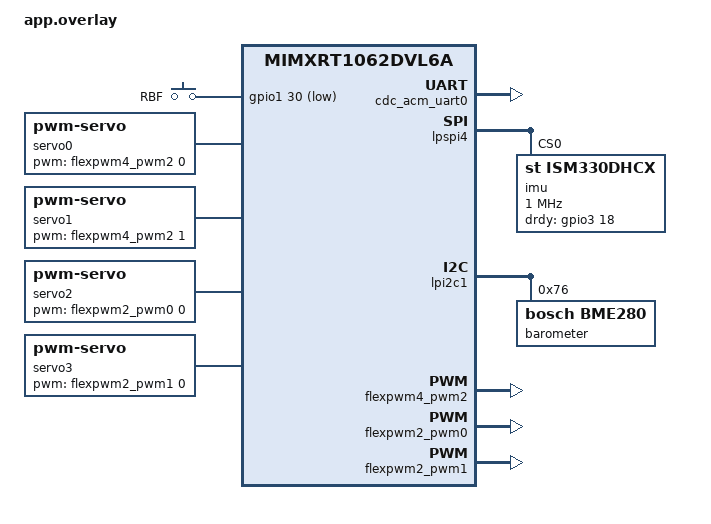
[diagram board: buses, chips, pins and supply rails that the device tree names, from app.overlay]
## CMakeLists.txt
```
cmake_minimum_required(VERSION 3.20.0)

# The logger's settings live in logger.conf.
set(CONF_FILE ${CMAKE_CURRENT_LIST_DIR}/prj.conf ${CMAKE_CURRENT_LIST_DIR}/logger.conf)

find_package(Zephyr REQUIRED HINTS $ENV{ZEPHYR_BASE})
project(my_app)

include(${CMAKE_CURRENT_SOURCE_DIR}/sources.cmake)
```

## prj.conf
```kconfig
CONFIG_SERIAL=y
CONFIG_CONSOLE=y
CONFIG_UART_CONSOLE=y
CONFIG_STDOUT_CONSOLE=y
CONFIG_UART_LINE_CTRL=y

CONFIG_USB_DEVICE_STACK_NEXT=y
CONFIG_CDC_ACM_SERIAL_INITIALIZE_AT_BOOT=y
CONFIG_CDC_ACM_SERIAL_PID=0x0004
CONFIG_CDC_ACM_SERIAL_PRODUCT_STRING="USBD console sample"


CONFIG_SENSOR=y
CONFIG_SENSOR_ASYNC_API=y

CONFIG_RTIO=y
CONFIG_RTIO_SUBMIT_SEM=y

CONFIG_ISM330DHCX=y
CONFIG_ISM330DHCX_TRIGGER_GLOBAL_THREAD=y
CONFIG_SPI=y
CONFIG_SPI_RTIO=y
CONFIG_I2C=y
CONFIG_I2C_RTIO=y
CONFIG_GPIO=y
CONFIG_PWM=y

CONFIG_SENSOR_LOG_LEVEL_DBG=y
# CONFIG_SPI_LOG_LEVEL_DBG=y
# CONFIG_I2C_LOG_LEVEL_DBG=y
CONFIG_LOG=y

CONFIG_CBPRINTF_FP_A_SUPPORT=y

CONFIG_CMSIS_DSP=y
CONFIG_CMSIS_DSP_FILTERING=y

CONFIG_BOOT_DELAY=1000

# Logging: see logger.conf, which CMakeLists.txt adds to this file.
```

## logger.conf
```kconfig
# Everything the logger (include/logger.h) needs.

CONFIG_RING_BUFFER=y
# Floats and 64-bit integers in log lines.
CONFIG_CBPRINTF_FP_SUPPORT=y
CONFIG_CBPRINTF_FULL_INTEGRAL=y

CONFIG_FILE_SYSTEM=y

# Every line goes to the microSD card, FAT formatted.
CONFIG_DISK_ACCESS=y
CONFIG_FAT_FILESYSTEM_ELM=y
# Rotated logs are named log.1.txt, which needs long file names.
CONFIG_FS_FATFS_LFN=y
# Never format the card when it fails to mount: that would erase earlier logs.
CONFIG_FS_FATFS_MOUNT_MKFS=n
# Cards over 32 GB (SDXC) come formatted as exFAT.
CONFIG_FS_FATFS_EXFAT=y

# Critical lines also go to littlefs on the onboard flash.
CONFIG_FLASH=y
CONFIG_FLASH_MAP=y
CONFIG_FILE_SYSTEM_LITTLEFS=y
# Same as cache-size of the lfs node in app.overlay. littlefs sizes its file
# cache heap from this, so with a smaller value only one file fits: the
# logger's crit.txt, and opening any other file fails with -ENOMEM.
CONFIG_FS_LITTLEFS_CACHE_SIZE=256
# The flash is mounted at boot on the main thread, and littlefs needs far more
# than the default 1 KiB of stack. Overflowing it trips the stack guard, which
# halts the board before USB comes up.
CONFIG_MAIN_STACK_SIZE=4096
# The Teensy SD slot has no card detect pin, so the SD host driver warns
# "assuming card is present" on every access. A missing card still shows up
# as a failed mount, which the logger reports.
CONFIG_SDHC_LOG_LEVEL_ERR=y

# A failed ASSERT (include/check.h) resets the board once the logs are stored.
CONFIG_REBOOT=y
```

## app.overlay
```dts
#include <zephyr/dt-bindings/sensor/ism330dhcx.h>
#include <nxp/nxp_imx/rt/mimxrt1062dvl6a-pinctrl.dtsi>

/ {
    chosen {
        zephyr,console = &cdc_acm_uart0;
        zephyr,shell-uart = &cdc_acm_uart0;
        zephyr,code-partition = &code_partition;
    };
    
	aliases {
		stream0 = &imu;
		stream1 = &barometer;
        rbf = &rbf_sw;
	};

    gpio_keys {
        compatible = "gpio-keys";

        rbf_sw: rbf_sw {
            gpios = <&gpio1 30 (GPIO_PULL_UP | GPIO_ACTIVE_LOW)>; // Todo: Change to the correct pin (31?)
            label = "RBF";
        };
    };   

    servo0: servo0 {
        compatible = "pwm-servo";
        pwms = <&flexpwm4_pwm2 0 PWM_MSEC(20) PWM_POLARITY_NORMAL>;
        min-pulse = <PWM_USEC(400)>;
        max-pulse = <PWM_USEC(2400)>;
    };

    servo1: servo1 {
        compatible = "pwm-servo";
        pwms = <&flexpwm4_pwm2 1 PWM_MSEC(20) PWM_POLARITY_NORMAL>;
        min-pulse = <PWM_USEC(400)>;
        max-pulse = <PWM_USEC(2400)>;
    };

    servo2: servo2 {
        compatible = "pwm-servo";
        pwms = <&flexpwm2_pwm0 0 PWM_MSEC(10) PWM_POLARITY_NORMAL>;
        min-pulse = <PWM_USEC(400)>;
        max-pulse = <PWM_USEC(2400)>;
    };

    servo3: servo3 {
        compatible = "pwm-servo";
        pwms = <&flexpwm2_pwm1 0 PWM_MSEC(20) PWM_POLARITY_NORMAL>;
        min-pulse = <PWM_USEC(400)>;
        max-pulse = <PWM_USEC(2400)>;
    };
};

&zephyr_udc0 {
    cdc_acm_uart0: cdc_acm_uart0 {
        compatible = "zephyr,cdc-acm-uart";
    };
};

&gpio1 {
    status = "okay";
};

&gpio3 {
    status = "okay";
};

/* Arduino SPI header (pins 10-13) on LPSPI4 */
&lpspi4 {
    transfer-delay = <50>;
    status = "okay";   
    pinctrl-0 = <&pinmux_lpspi4>;
    pcs-sck-delay= <25>;
    sck-pcs-delay= <25>;
    pinctrl-names = "default";

    //cs-gpios = <&gpio2 0 GPIO_ACTIVE_LOW>;

    imu: aism330dhcx@0 {
        compatible = "st,ism330dhcx";
        reg = <0>;
        spi-max-frequency = <1000000>;
        drdy-gpios = <&gpio3 18 GPIO_ACTIVE_HIGH>; //, <&gpio4 32 GPIO_ACTIVE_HIGH>;

        accel-odr = <ISM330DHCX_DT_ODR_1666Hz>;
        gyro-odr  = <ISM330DHCX_DT_ODR_1666Hz>;

        accel-range = <8>;      /* ±8 g */
        gyro-range  = <2000>;   /* ±2000 dps */
    };
};

&lpi2c1 {
    status = "okay";
    pinctrl-0 = <&pinmux_lpi2c1>;
    pinctrl-names = "default";

    barometer: bme280@76 {
        compatible = "bosch,bme280";
        reg = <0x76>;
    };
};

&pinctrl {
	pinmux_flexpwm4_ch2: pinmux_flexpwm4_ch2 {
		group0 {
			pinmux = <&iomuxc_gpio_emc_04_flexpwm4_pwma2>, //output A
                    <&iomuxc_gpio_emc_05_flexpwm4_pwmb2>; //output B
			drive-strength = "r0-7";
			slew-rate = "fast";
			nxp,speed = "200-mhz";
		};
	};

	pinmux_flexpwm2_ch0: pinmux_flexpwm4_ch0 {
		group0 {
			pinmux = <&iomuxc_gpio_emc_06_flexpwm2_pwma0>; //output A
			drive-strength = "r0-7";
			slew-rate = "fast";
			nxp,speed = "200-mhz";
		};
	};

	pinmux_flexpwm2_ch1: pinmux_flexpwm4_ch1 {
		group0 {
			pinmux = <&iomuxc_gpio_emc_08_flexpwm2_pwma1>; //output A
			drive-strength = "r0-7";
			slew-rate = "fast";
			nxp,speed = "200-mhz";
		};
	};
    pinmux_rbf: pinmux_rbf {
        group0 {
            pinmux = <&iomuxc_gpio_ad_b1_15_gpio1_io31>;
            drive-strength = "r0-7";
            slew-rate = "slow";
            nxp,speed = "200-mhz";
            input-schmitt-enable;
            bias-pull-up;
            bias-pull-up-value = "100k";
        };
    };
};

&flexpwm4_pwm2 {
	status = "okay";
	pinctrl-0 = <&pinmux_flexpwm4_ch2>;
	pinctrl-names = "default";
	nxp,prescaler = <64>;
    nxp,reload = "immediate";
};

&flexpwm2_pwm0 {
	status = "okay";
	pinctrl-0 = <&pinmux_flexpwm2_ch0>;
	pinctrl-names = "default";
	nxp,prescaler = <64>;
    nxp,reload = "immediate";
};

&flexpwm2_pwm1 {
	status = "okay";
	pinctrl-0 = <&pinmux_flexpwm2_ch1>;
	pinctrl-names = "default";
	nxp,prescaler = <64>;
    nxp,reload = "immediate";
};

&w25q64jvxgim { // Reserving memory for writing persistent data
    partitions {
        compatible = "fixed-partitions";
        #address-cells = <1>;
        #size-cells = <1>;

        code_partition: partition@0 {
            label = "code";
            reg = <0x0 0x7FC000>;
            read-only;
        };

        storage_partition: partition@7FC000 {
            label = "storage";
            reg = <0x7FC000 0x4000>;
        };
    };
};
```

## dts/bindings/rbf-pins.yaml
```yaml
description: Pad configuration for the RBF pin

compatible: "app,rbf-pins"

include: [base.yaml, pinctrl-device.yaml]
```

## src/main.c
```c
#include <arm_math.h>
#include <assert.h>
#include <math.h>
#include <stdint.h>
#include <stdio.h>
#include <zephyr/drivers/pwm.h>
#include <zephyr/drivers/sensor.h>
#include <zephyr/kernel.h>

#include "dsp/controller_functions.h"
#include "dsp/filtering_functions.h"
#include "guidance/filters.h"
#include "guidance/kalman.h"
#include "guidance/pid.h"
#include "logger.h"
#include "math/linmath.h"
#include "sensors.h"
#include "servo.h"
#include "zephyr/sys/time_units.h"

#define IMU_NODE DT_NODELABEL(imu)
#define BAROMETER_NODE DT_NODELABEL(barometer)

static const struct device *imu = DEVICE_DT_GET(IMU_NODE);
static const struct device *barometer = DEVICE_DT_GET(BAROMETER_NODE);

#define STEP PWM_USEC(10)

enum direction {
    DOWN,
    UP,
};

#define TASK_BAROMETER_READ_STACK_SIZE 4096
#define TASK_BAROMETER_READ_PRIORITY 1

K_THREAD_DEFINE(
    task_barometer_read_thread_id,
    TASK_BAROMETER_READ_STACK_SIZE,
    task_barometer_read,
    &barometer,
    NULL,
    NULL,
    TASK_BAROMETER_READ_PRIORITY,
    0,
    0
);

static int sweep_servo(const servo_t servo) {
    float angle = -90.0f;  // start at minimum position
    enum direction dir = UP;
    int ret;

    log_info("Servomotor control (angle based)");

    if (!pwm_is_ready_dt(&servo.spec)) {
        log_crit("PWM device", servo.spec.dev->name, "is not ready");
        return -ENODEV;
    }

    while (1) {
        ret = servo_set_angle(servo, angle);
        if (ret < 0) {
            log_crit("Failed to set angle", angle, "error", ret);
            return ret;
        }

        // Step size = degrees per iteration
        const float step_size = 1.0f;

        if (dir == UP) {
            angle += step_size;
            if (angle >= 90.0f) {
                angle = 90.0f;
                dir = DOWN;
            }
        } else {
            angle -= step_size;
            if (angle <= -90.0f) {
                angle = -90.0f;
                dir = UP;
            }
        }

        k_sleep(K_MSEC(20));  // Smooth sweep speed
    }

    return 0;
}

double pressure_to_altitude(double pressure_pa) {
    const double P0 = 101325.0;  // Sea level pressure (Pa)
    const double T0 = 288.15;  // Sea level temperature (K)
    const double L = 0.0065;  // Temperature lapse rate (K/m)
    const double g = 9.80665;  // Gravity (m/s²)
    const double R = 287.05;  // Specific gas constant (J/(kg·K))

    // Barometric formula: h = (T0 / L) * (1 - (P / P0)^(R*L/g))
    double exponent = (R * L) / g;
    double altitude = (T0 / L) * (1.0 - pow(pressure_pa / P0, exponent));

    return altitude;
}

void print_acceleration(const imu_sample_t *sample) {
    log_info("Acceleration [m/s2]", sample->acceleration);
}

void transform_coords(imu_sample_t *imu_sample) {
    vec3 acc_old;
    vec3 gyro_old;
    vec3_dup(acc_old, imu_sample->acceleration);
    vec3_dup(gyro_old, imu_sample->angular_rate);

    imu_sample->acceleration[0] = -acc_old[2];
    imu_sample->acceleration[1] = acc_old[1];
    imu_sample->acceleration[2] = acc_old[0];

    imu_sample->angular_rate[0] = -gyro_old[2];
    imu_sample->angular_rate[1] = gyro_old[1];
    imu_sample->angular_rate[2] = gyro_old[0];
}

LINMATH_H_FUNC float quat_get_roll(quat const q) {
    float x = q[0];
    float y = q[1];
    float z = q[2];
    float w = q[3];

    float siny_cosp = 2.f * (w * z + x * y);
    float cosy_cosp = 1.f - 2.f * (y * y + z * z);

    return atan2f(siny_cosp, cosy_cosp);
}

int main(void) {
    // Boot marker: CRIT, so it also lands in crit.txt. code/scripts/read_crit.py
    // looks for it to confirm the board booted.
    log_crit("(half life scientist) everything.. seems to be in order");
    barometer_init(barometer);
    log_info("barometer...", device_is_ready(barometer) ? "ok" : "failed");
    imu_init(imu);
    log_info("imu...", device_is_ready(imu) ? "ok" : "failed");

    imu_sample_t imu_sample;
    barometer_sample_t baro_sample;
    int ret;

    assert(imu_filter != NULL);

    float drift_last = 0.0f;

    vec3 avg_accel = {0}, avg_gyro = {0};

    vec3 g = {0};
#define AVG_COUNT 256
    for (int k_idx = 0; k_idx < AVG_COUNT; ++k_idx) {
        ret = k_msgq_get(&imu_msgq, &imu_sample, K_FOREVER);
        transform_coords(&imu_sample);
        vec3_add(g, g, imu_sample.acceleration);
    }
    vec3_scale(g, g, 1.0f / AVG_COUNT);

    kalman_filter_t k = kalman_init(g);

#define AVG_COUNT 256
    for (int k_idx = 0; k_idx < AVG_COUNT; ++k_idx) {
        ret = k_msgq_get(&imu_msgq, &imu_sample, K_FOREVER);
        transform_coords(&imu_sample);
        vec3 a;
        vec3_sub(a, imu_sample.acceleration, g);

        vec3_add(avg_accel, avg_accel, a);
        vec3_add(avg_gyro, avg_gyro, imu_sample.angular_rate);
    }

    vec3_scale(avg_accel, avg_accel, 1.0f / AVG_COUNT);
    vec3_scale(avg_gyro, avg_gyro, 1.0f / AVG_COUNT);

    vec3_dup(k.gyroscope_bias, avg_gyro);
    vec3_dup(k.accelerometer_bias, avg_accel);

    float base_altitude = 0.0f;
    for (int k_idx = 0; k_idx < 8; ++k_idx) {
        ret = k_msgq_get(&barometer_msgq, &baro_sample, K_FOREVER);

        base_altitude += pressure_to_altitude((double)baro_sample.pressure);
    }

    base_altitude *= 1.0f / 8;

    uint32_t loop_counter = 0;
    uint64_t time = 0;
    int loops = 0;

    roll_control_reset();

    while (1) {
        uint64_t start = k_ticks_to_ns_floor64(k_uptime_ticks());

        /* Read IMU if data is available */
        while ((ret = k_msgq_get(&imu_msgq, &imu_sample, K_NO_WAIT)) == 0) {
            transform_coords(&imu_sample);
            ekf_predict(&k, imu_sample);
            loops++;
        }

        time += k_ticks_to_ns_floor64(k_uptime_ticks()) - start;

        while ((ret = k_msgq_get(&barometer_msgq, &baro_sample, K_NO_WAIT))
               == 0) {
            float altitude = (float)pressure_to_altitude(baro_sample.pressure)
                - base_altitude;
            k.position[1] = altitude;
        }

        /* Print state every 500 iterations (~500 ms at 1 kHz) */
        if (loop_counter % 500 == 0) {
            float total_s = (float)time * 1e-9f;
            log_info(
                "loops",
                loops,
                "total_time",
                total_s,
                "time_per_kalman",
                total_s / (float)(loops > 0 ? loops : 1)
            );
            // Split by hand: a line longer than VIIKATE_LOG_MAX_LINE_LEN
            // stops the simulator and the tests.
            log_info(
                "state pos",
                k.position,
                "vel",
                k.velocity,
                "ori",
                k.orientation
            );
            log_info(
                "state ang_vel",
                k.angular_velocity,
                "g",
                k.gravity,
                "t_last",
                k.last_measurement_timestamp_ns,
                "ns"
            );
            log_info(
                "state acc_bias",
                k.accelerometer_bias,
                "gyro_bias",
                k.gyroscope_bias
            );
            loops = 0;
        }

        static uint64_t last_roll_update_ns;

        if (loop_counter % 20 == 0) {
            uint64_t now = k_ticks_to_ns_floor64(k_uptime_ticks());
            float dt = last_roll_update_ns == 0
                ? 0.02f
                : (float)(now - last_roll_update_ns) * 1e-9f;
            last_roll_update_ns = now;

            roll_control_update(quat_get_roll(k.orientation), 0.0f, dt);
        }

        loop_counter++;
        k_sleep(K_MSEC(1));  // 1 kHz update rate
    }
}
```

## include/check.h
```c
#ifndef VIIKATE_CHECK_H
#define VIIKATE_CHECK_H

/*
 * Runtime checks. Unlike assert(), they stay in flight builds.
 *
 *     if (!EXPECT(rc == 0, "rc", rc)) {
 *         return rc;
 *     }
 *     ASSERT(dt > 0.0f, "dt", dt);
 *
 * A failed check logs a CRIT line with the condition and where it is, then
 * any extra arguments, printed as by log_crit:
 *
 *     1234 CRIT EXPECT failed: rc == 0 at main.c:146 rc -5
 *
 * EXPECT is for things that should not happen but can be survived: it only
 * logs, and evaluates to the condition so the caller can fall back.
 *
 * ASSERT is for states the code cannot go on from. It stores every line
 * logged so far, including its own, on the SD card and the flash, then resets
 * the board. Builds with CONFIG_ASSERT (the simulator) halt instead, so a
 * test fails where it happened rather than in a reboot loop. The failed
 * thread never goes on. In an ISR the rest of the handler still runs, and
 * the board stops as soon as it returns.
 */

#include <stdbool.h>
#include <zephyr/sys/util.h>
#include <zephyr/toolchain.h>

#include "logger.h"

#define EXPECT(cond, ...) \
    (likely(cond) \
         ? true \
         : (VIIKATE_CHECK_FAILED_("EXPECT", #cond, ##__VA_ARGS__), false))

#define ASSERT(cond, ...) \
    do { \
        if (unlikely(!(cond))) { \
            VIIKATE_CHECK_FAILED_("ASSERT", #cond, ##__VA_ARGS__); \
            viikate_log_fatal(); \
        } \
    } while (0)

/* Implementation detail; use the macros above. */
#define VIIKATE_CHECK_FAILED_(kind, text, ...) \
    log_crit( \
        kind " failed:", \
        text, \
        "at", \
        __FILE_NAME__ ":" STRINGIFY(__LINE__), \
        ##__VA_ARGS__ \
    )

#endif
```

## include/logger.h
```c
#ifndef VIIKATE_LOGGER_H
#define VIIKATE_LOGGER_H

/*
 * Non-blocking line logger.
 *
 *     log_info("barometer...", "ok");
 *     log_warn("pressure", pressure, "Pa after", tries, "tries");
 *     log_crit("imu lost");
 *
 * Arguments of any standard type (strings, chars, bools, integers, floats,
 * pointers) and the linmath types are printed separated by spaces, after the
 * uptime in milliseconds and the level, and a newline is appended:
 *
 *     1234 WARN pressure 101325 Pa after 3 tries
 *     1250 INFO acceleration [0.1, -0.02, 9.81]
 *
 * vec2, vec3, vec4 and quat print as [x, y, ...], mat4x4 as four such rows
 * inside brackets. A vector received as a function parameter has decayed to
 * a plain float pointer and prints as an address.
 *
 * A line that would grow past VIIKATE_LOG_MAX_LINE_LEN goes on in further
 * lines that repeat the uptime and level, followed by "...":
 *
 *     1250 INFO state pos [1, 2, 3] vel [4, 5, 6]
 *     1250 INFO ... ori [1, 0, 0, 0]
 *
 * Lines only break between arguments; one argument longer than a whole line
 * is cut. Builds with CONFIG_ASSERT (the simulator) treat an overlong line
 * as a bug and stop, like a failed ASSERT (check.h), so log calls get split
 * by hand before they fly.
 *
 * A line is formatted in full before it is handed over, so it is never
 * flushed half written. A low priority thread then prints it to the console
 * and appends it to log.txt on the microSD card (VIIKATE_LOG_SD_DIR). CRIT
 * lines are also appended to crit.txt on the onboard flash (VIIKATE_LOG_DIR),
 * so the most important ones survive a lost or broken card. If one of them
 * fails, logging carries on to the other and the console. The card is mounted
 * by its own thread, which tries again every few seconds while it is missing
 * or after it failed, so a card inserted late or reseated is picked up again;
 * lines logged while it is down only reach the console and, if CRIT, the
 * flash. FAT and exFAT cards both work. The caller never
 * waits on the console or storage, so logging is safe from control loops and
 * ISRs. If the buffer is full the line is dropped, the call evaluates to false
 * and the flush thread reports how many lines were lost.
 *
 * When log.txt would grow past VIIKATE_LOG_FILE_MAX_SIZE it is rotated:
 * log.txt becomes log.1.txt, log.1.txt becomes log.2.txt and so on. At most
 * VIIKATE_LOG_FILE_COUNT files are kept, the oldest one is deleted. crit.txt
 * rotates the same way within its own, smaller limits, so the flash only ever
 * holds the latest critical lines. Uploading new firmware erases crit.txt:
 * read it before reflashing.
 */

#include <stdbool.h>
#include <stddef.h>
#include <zephyr/sys/util_macro.h>

#define VIIKATE_LOG_MAX_LINE_LEN 200
#define VIIKATE_LOG_DIR "/lfs"
#define VIIKATE_LOG_SD_DIR "/SD:"
#define VIIKATE_LOG_FILE_MAX_SIZE (64 * 1024)
#define VIIKATE_LOG_FILE_COUNT 4
#define VIIKATE_LOG_CRIT_FILE_MAX_SIZE (16 * 1024)
#define VIIKATE_LOG_CRIT_FILE_COUNT 2

#define log_info(...) VIIKATE_LOG_(VIIKATE_LOG_INFO, __VA_ARGS__)
#define log_warn(...) VIIKATE_LOG_(VIIKATE_LOG_WARN, __VA_ARGS__)
#define log_crit(...) VIIKATE_LOG_(VIIKATE_LOG_CRIT, __VA_ARGS__)

/* Implementation details below; use the macros above. */

typedef enum {
    VIIKATE_LOG_INFO,
    VIIKATE_LOG_WARN,
    VIIKATE_LOG_CRIT,
} viikate_log_level_t;

typedef enum {
    VIIKATE_LOG_STR,
    VIIKATE_LOG_CHAR,
    VIIKATE_LOG_BOOL,
    VIIKATE_LOG_INT,
    VIIKATE_LOG_UINT,
    VIIKATE_LOG_DOUBLE,
    VIIKATE_LOG_PTR,
    VIIKATE_LOG_FLOATS,
} viikate_log_type_t;

typedef struct {
    viikate_log_type_t type;

    union {
        const char *s;
        char c;
        bool b;
        long long i;
        unsigned long long u;
        double d;
        const void *p;

        struct {
            const float *v;
            unsigned char rows;
            unsigned char cols;
        } f;
    } as;
} viikate_log_arg_t;

bool viikate_log_write(
    viikate_log_level_t level,
    const viikate_log_arg_t *args,
    size_t count
);

/* Stores everything logged so far, then resets the board, or halts it in
 * builds with CONFIG_ASSERT. Use ASSERT from check.h instead of calling this.
 * Never returns when called from a thread. Called from an ISR it returns, and
 * the logger stores the lines and stops the board once the ISR is done. */
void viikate_log_fatal(void);

// clang-format off
static inline viikate_log_arg_t viikate_log_str_(const char *v) { return (viikate_log_arg_t){VIIKATE_LOG_STR, {.s = v}}; }
static inline viikate_log_arg_t viikate_log_char_(char v) { return (viikate_log_arg_t){VIIKATE_LOG_CHAR, {.c = v}}; }
static inline viikate_log_arg_t viikate_log_bool_(bool v) { return (viikate_log_arg_t){VIIKATE_LOG_BOOL, {.b = v}}; }
static inline viikate_log_arg_t viikate_log_int_(long long v) { return (viikate_log_arg_t){VIIKATE_LOG_INT, {.i = v}}; }
static inline viikate_log_arg_t viikate_log_uint_(unsigned long long v) { return (viikate_log_arg_t){VIIKATE_LOG_UINT, {.u = v}}; }
static inline viikate_log_arg_t viikate_log_double_(double v) { return (viikate_log_arg_t){VIIKATE_LOG_DOUBLE, {.d = v}}; }
static inline viikate_log_arg_t viikate_log_ptr_(const void *v) { return (viikate_log_arg_t){VIIKATE_LOG_PTR, {.p = v}}; }
static inline viikate_log_arg_t viikate_log_vec2_(const void *v) { return (viikate_log_arg_t){VIIKATE_LOG_FLOATS, {.f = {(const float *)v, 1, 2}}}; }
static inline viikate_log_arg_t viikate_log_vec3_(const void *v) { return (viikate_log_arg_t){VIIKATE_LOG_FLOATS, {.f = {(const float *)v, 1, 3}}}; }
static inline viikate_log_arg_t viikate_log_vec4_(const void *v) { return (viikate_log_arg_t){VIIKATE_LOG_FLOATS, {.f = {(const float *)v, 1, 4}}}; }
static inline viikate_log_arg_t viikate_log_mat4x4_(const void *v) { return (viikate_log_arg_t){VIIKATE_LOG_FLOATS, {.f = {(const float *)v, 4, 4}}}; }

/* linmath types (vec2, vec3, vec4, quat, mat4x4) are float arrays, which
 * _Generic only sees as float *. Matching on a pointer to the argument's type
 * keeps the array size; everything else is matched by value. */
#define VIIKATE_LOG_ARG_(value) \
    _Generic((__typeof__(value) *)0, \
        float (*)[2]: viikate_log_vec2_, \
        const float (*)[2]: viikate_log_vec2_, \
        float (*)[3]: viikate_log_vec3_, \
        const float (*)[3]: viikate_log_vec3_, \
        float (*)[4]: viikate_log_vec4_, \
        const float (*)[4]: viikate_log_vec4_, \
        float (*)[4][4]: viikate_log_mat4x4_, \
        const float (*)[4][4]: viikate_log_mat4x4_, \
        default: VIIKATE_LOG_SCALAR_(value))(value)

#define VIIKATE_LOG_SCALAR_(value) \
    _Generic((value), \
        char *: viikate_log_str_, \
        const char *: viikate_log_str_, \
        char: viikate_log_char_, \
        bool: viikate_log_bool_, \
        signed char: viikate_log_int_, \
        short: viikate_log_int_, \
        int: viikate_log_int_, \
        long: viikate_log_int_, \
        long long: viikate_log_int_, \
        unsigned char: viikate_log_uint_, \
        unsigned short: viikate_log_uint_, \
        unsigned int: viikate_log_uint_, \
        unsigned long: viikate_log_uint_, \
        unsigned long long: viikate_log_uint_, \
        float: viikate_log_double_, \
        double: viikate_log_double_, \
        long double: viikate_log_double_, \
        default: viikate_log_ptr_)

#define VIIKATE_LOG_(level, ...) \
    viikate_log_write( \
        (level), \
        (const viikate_log_arg_t[]){FOR_EACH(VIIKATE_LOG_ARG_, (,), __VA_ARGS__)}, \
        NUM_VA_ARGS(__VA_ARGS__))
// clang-format on

#endif
```

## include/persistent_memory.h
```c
#pragma once

#include <stdbool.h>
#include <stddef.h>
#include <stdint.h>

// Memory locations:
#define PERSIST_ID_STATE 1

bool persist_init(void);

bool persist_write(uint16_t id, const void *data, size_t len);

bool persist_read(uint16_t id, void *data, size_t len);
```

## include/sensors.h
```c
#pragma once

#include <stdint.h>
#include <zephyr/kernel.h>

#include "math/linmath.h"

typedef struct {
    uint64_t timestamp_ns;
    vec3 acceleration;
    vec3 angular_rate;
} imu_sample_t;

typedef struct {
    uint64_t timestamp_ns;
    float temperature;
    float pressure;
} barometer_sample_t;

extern struct k_msgq imu_msgq;
extern struct k_msgq barometer_msgq;

void task_barometer_read(void *arg1, void *arg2, void *arg3);

int imu_init(const struct device *imu);
int barometer_init(const struct device *barometer);

int rbf_init(void);
bool rbf_is_removed(void);
```

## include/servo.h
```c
#pragma once

#include <stdint.h>

#include "zephyr/drivers/pwm.h"

typedef struct {
    struct pwm_dt_spec spec;
    uint32_t min_pulse;
    uint32_t max_pulse;
} servo_t;

#define DT_SERVO_GET(nodelabel) \
    (servo_t) { \
        .spec = PWM_DT_SPEC_GET(nodelabel), \
        .min_pulse = DT_PROP(nodelabel, min_pulse), \
        .max_pulse = DT_PROP(nodelabel, max_pulse) \
    }

int servo_set_angle(const servo_t servo, float angle);
```

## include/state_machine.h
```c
#pragma once
#include "guidance/kalman.h"

typedef enum {
    Boot,
    Safe,
    Pad,
    Launch,
    Guidance,
    Fault,
    Recovery,
    Landing,
    Abort,
} FLIGHTSTATE;

typedef struct {
    FLIGHTSTATE previous_state;
    FLIGHTSTATE current_state;
    float pad_altitude;  // m
    int64_t checklist_time;  // ms
    int64_t liftoff_time;  // ms
    int64_t fault_activation_time;
    float landing_reference_altitude;  // m
    int64_t landing_stable_since;  // ....

} state_machine;

typedef struct {
    FLIGHTSTATE state;
    float pad_altitude;
    float flight_time_s;
} flight_record;

FLIGHTSTATE state_machine_update(
    const kalman_filter_t *k,
    const imu_sample_t *is,
    bool controls_checked
);
```

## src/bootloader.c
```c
/*
 * Reboot into the Teensy bootloader when the host opens the console at
 * 134 baud, the same convention Teensyduino and teensy_loader_cli use. This
 * lets the board be reflashed without pressing the PROGRAM button.
 */
#include <stdint.h>
#include <zephyr/device.h>
#include <zephyr/drivers/uart.h>
#include <zephyr/kernel.h>

#define REBOOT_BAUD 134
#define POLL_MS 50

static void watch_console(void *arg1, void *arg2, void *arg3) {
    const struct device *console = DEVICE_DT_GET(DT_CHOSEN(zephyr_console));
    (void)arg1;
    (void)arg2;
    (void)arg3;

    for (;;) {
        uint32_t baud = 0;

        if (device_is_ready(console)
            && uart_line_ctrl_get(console, UART_LINE_CTRL_BAUD_RATE, &baud) == 0
            && baud == REBOOT_BAUD) {
            // The Teensy's bootloader chip catches this breakpoint and
            // takes over, exactly like Teensyduino's reboot.
            __asm__ volatile("bkpt #251");
        }
        k_msleep(POLL_MS);
    }
}

K_THREAD_DEFINE(
    bootloader_watch_thread_id,
    512,
    watch_console,
    NULL,
    NULL,
    NULL,
    K_LOWEST_APPLICATION_THREAD_PRIO,
    0,
    0
);
```

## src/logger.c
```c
#include "logger.h"

#include <errno.h>
#include <stdarg.h>
#include <stdint.h>
#include <string.h>
#include <zephyr/fs/fs.h>
#include <zephyr/kernel.h>
#include <zephyr/spinlock.h>
#include <zephyr/sys/atomic.h>
#include <zephyr/sys/printk.h>
#include <zephyr/sys/reboot.h>
#include <zephyr/sys/ring_buffer.h>
#include <zephyr/sys/util.h>

#define BUFFER_SIZE 4096
#define LINE_CAPACITY VIIKATE_LOG_MAX_LINE_LEN
// One full line, with its level tag and newline, always fits in a flush.
#define FLUSH_CHUNK (1 + LINE_CAPACITY + 1)
// FatFs and the SD card driver run on these threads.
#define FLUSH_STACK_SIZE 4096
#define MOUNT_STACK_SIZE 4096
// Below the control threads: logging never delays control. The mount thread
// is lower still, so probing for a card never delays a flush.
#define FLUSH_PRIORITY (K_LOWEST_APPLICATION_THREAD_PRIO - 1)
#define MOUNT_PRIORITY K_LOWEST_APPLICATION_THREAD_PRIO
// How often a missing or failed SD card is tried again.
#define MOUNT_RETRY K_SECONDS(5)

static const char NEWLINE = '\n';

static struct k_spinlock lock;
static uint32_t dropped;  // guarded by lock

static void flush_thread(void *arg1, void *arg2, void *arg3);
#ifdef CONFIG_FILE_SYSTEM
static void mount_thread(void *arg1, void *arg2, void *arg3);
#endif

RING_BUF_DECLARE(viikate_log_buffer, BUFFER_SIZE);
K_SEM_DEFINE(viikate_log_pending, 0, 1);
K_THREAD_DEFINE(
    viikate_log_thread,
    FLUSH_STACK_SIZE,
    flush_thread,
    NULL,
    NULL,
    NULL,
    FLUSH_PRIORITY,
    0,
    0
);
#ifdef CONFIG_FILE_SYSTEM
// Given by the mount thread after its first try.
K_SEM_DEFINE(viikate_log_sd_tried, 0, 1);
K_THREAD_DEFINE(
    viikate_log_mount_thread,
    MOUNT_STACK_SIZE,
    mount_thread,
    NULL,
    NULL,
    NULL,
    MOUNT_PRIORITY,
    0,
    0
);
#endif

// Formatting. Runs on the caller's stack and never blocks.

typedef struct {
    char text[LINE_CAPACITY + 1];
    size_t len;
} line_t;

// Returns false if the text did not fit and was cut.
static bool append(line_t *line, const char *fmt, ...) {
    va_list ap;
    va_start(ap, fmt);
    int n = vsnprintk(
        line->text + line->len,
        sizeof(line->text) - line->len,
        fmt,
        ap
    );
    va_end(ap);

    if (n <= 0) {
        return true;
    }
    bool fits = line->len + (size_t)n <= LINE_CAPACITY;
    line->len = MIN(line->len + (size_t)n, LINE_CAPACITY);
    return fits;
}

static const char *level_name(viikate_log_level_t level) {
    switch (level) {
        case VIIKATE_LOG_INFO:
            return "INFO";
        case VIIKATE_LOG_WARN:
            return "WARN";
        case VIIKATE_LOG_CRIT:
            return "CRIT";
    }
    return "????";
}

// " [x, y, z]" for a vector, " [[a, b], [c, d]]" for a matrix (row-major).
// Returns false if it did not fit and was cut.
static bool
append_floats(line_t *line, const float *v, unsigned rows, unsigned cols) {
    bool fits = append(line, rows > 1 ? " [" : " ");
    for (unsigned r = 0; r < rows; ++r) {
        fits = append(line, r > 0 ? ", [" : "[") && fits;
        for (unsigned c = 0; c < cols; ++c) {
            fits = append(line, c > 0 ? ", %g" : "%g", (double)v[r * cols + c])
                && fits;
        }
        fits = append(line, "]") && fits;
    }
    if (rows > 1) {
        fits = append(line, "]") && fits;
    }
    return fits;
}

// Returns false if the argument did not fit and was cut.
static bool append_arg(line_t *line, const viikate_log_arg_t *arg) {
    switch (arg->type) {
        case VIIKATE_LOG_STR:
            return append(
                line,
                " %s",
                arg->as.s != NULL ? arg->as.s : "(null)"
            );
        case VIIKATE_LOG_CHAR:
            return append(line, " %c", arg->as.c);
        case VIIKATE_LOG_BOOL:
            return append(line, " %s", arg->as.b ? "true" : "false");
        case VIIKATE_LOG_INT:
            return append(line, " %lld", arg->as.i);
        case VIIKATE_LOG_UINT:
            return append(line, " %llu", arg->as.u);
        case VIIKATE_LOG_DOUBLE:
            return append(line, " %g", arg->as.d);
        case VIIKATE_LOG_PTR:
            return append(line, " %p", arg->as.p);
        case VIIKATE_LOG_FLOATS:
            return append_floats(
                line,
                arg->as.f.v,
                arg->as.f.rows,
                arg->as.f.cols
            );
    }
    return true;
}

// Output. Runs in the flush thread only.

// Storage. Without file systems (native_sim) lines only go to the console.
#ifdef CONFIG_FILE_SYSTEM

FS_FSTAB_DECLARE_ENTRY(DT_NODELABEL(sd));

// A log file and its rotated copies. When the live file would grow past
// max_size, name.txt becomes name.1.txt and so on, keeping count files: the
// oldest lines are dropped, so the files act as a ring.
typedef struct {
    const char *dir;
    const char *name;
    size_t max_size;
    int count;

    struct fs_file_t file;
    bool open;
    bool disabled;
    size_t size;
} target_t;

// Every line, on the microSD card.
static target_t sd_log = {
    .dir = VIIKATE_LOG_SD_DIR,
    .name = "log",
    .max_size = VIIKATE_LOG_FILE_MAX_SIZE,
    .count = VIIKATE_LOG_FILE_COUNT,
};

// Who owns the SD card. The mount thread mounts it (DOWN -> UP). The flush
// thread writes to it only while it is UP and, when a write fails, closes the
// file and hands it back (UP -> BROKEN). The mount thread then unmounts it and
// tries again (BROKEN -> DOWN -> UP).
enum { SD_DOWN, SD_UP, SD_BROKEN };

static atomic_t sd_state = ATOMIC_INIT(SD_DOWN);

// CRIT lines only, on the onboard flash: a small ring that survives a lost
// or broken SD card without wearing out the flash with every line.
static target_t crit_log = {
    .dir = VIIKATE_LOG_DIR,
    .name = "crit",
    .max_size = VIIKATE_LOG_CRIT_FILE_MAX_SIZE,
    .count = VIIKATE_LOG_CRIT_FILE_COUNT,
};

    #define PATH_LEN 32

// index 0 is the live file, name.txt; 1 and up are rotated copies.
static void log_path(const target_t *t, int index, char out[PATH_LEN]) {
    if (index == 0) {
        snprintk(out, PATH_LEN, "%s/%s.txt", t->dir, t->name);
    } else {
        snprintk(out, PATH_LEN, "%s/%s.%d.txt", t->dir, t->name, index);
    }
}

static int open_file(target_t *t) {
    char path[PATH_LEN];
    log_path(t, 0, path);

    fs_file_t_init(&t->file);
    int rc = fs_open(&t->file, path, FS_O_CREATE | FS_O_WRITE | FS_O_APPEND);
    if (rc != 0) {
        return rc;
    }
    t->open = true;

    struct fs_dirent entry;
    rc = fs_stat(path, &entry);
    t->size = rc == 0 ? entry.size : 0;
    return 0;
}

static int rotate(target_t *t) {
    char from[PATH_LEN];
    char to[PATH_LEN];

    fs_close(&t->file);
    t->open = false;

    log_path(t, t->count - 1, to);
    int rc = fs_unlink(to);
    if (rc != 0 && rc != -ENOENT) {
        return rc;
    }
    for (int i = t->count - 2; i >= 0; --i) {
        log_path(t, i, from);
        log_path(t, i + 1, to);
        rc = fs_rename(from, to);
        if (rc != 0 && (rc != -ENOENT || i == 0)) {
            return rc;
        }
    }
    return open_file(t);
}

static void close_target(target_t *t) {
    if (t->open) {
        fs_close(&t->file);
        t->open = false;
    }
}

static bool target_ready(const target_t *t) {
    if (t == &sd_log) {
        return atomic_get(&sd_state) == SD_UP;
    }
    return !t->disabled;
}

// A failed SD card goes back to the mount thread, which tries it again. The
// flash is not retried. Either way the console and the other target go on.
static void fail_target(target_t *t, int rc) {
    close_target(t);
    if (t == &sd_log) {
        atomic_set(&sd_state, SD_BROKEN);
        log_crit("log: SD card failed, error", rc, "retrying");
    } else {
        printk("log: %s/%s.txt unavailable (%d)\n", t->dir, t->name, rc);
        t->disabled = true;
    }
}

// text is one whole line, so a line never straddles two files.
static void write_target(target_t *t, const char *text, size_t len) {
    if (!target_ready(t)) {
        return;
    }

    int rc = 0;
    if (!t->open) {
        rc = open_file(t);
    }
    if (rc == 0 && t->size > 0 && t->size + len > t->max_size) {
        rc = rotate(t);
    }
    if (rc == 0) {
        ssize_t n = fs_write(&t->file, text, len);
        if (n < 0) {
            rc = (int)n;
        } else if ((size_t)n != len) {
            rc = -ENOSPC;
        } else {
            t->size += len;
        }
    }
    if (rc != 0) {
        fail_target(t, rc);
    }
}

// Commits everything written so far, so it survives power loss.
static void sync_target(target_t *t) {
    if (t->open) {
        int rc = fs_sync(&t->file);
        if (rc != 0) {
            fail_target(t, rc);
        }
    }
}

// Mounts the SD card, so the flush thread never waits on a card that does
// not answer: with no card detect pin, a missing card only shows up after the
// driver's timeouts.
static void mount_thread(void *arg1, void *arg2, void *arg3) {
    struct fs_mount_t *mount = &FS_FSTAB_ENTRY(DT_NODELABEL(sd));
    int last_rc = 0;
    ARG_UNUSED(arg1);
    ARG_UNUSED(arg2);
    ARG_UNUSED(arg3);

    for (bool first = true;; first = false) {
        if (atomic_get(&sd_state) == SD_BROKEN) {
            // Errors are ignored: the card may be gone already.
            (void)fs_unmount(mount);
            atomic_set(&sd_state, SD_DOWN);
        }
        if (atomic_get(&sd_state) == SD_DOWN) {
            int rc = fs_mount(mount);
            if (rc == 0) {
                last_rc = 0;
                atomic_set(&sd_state, SD_UP);
                log_info("log: SD card mounted");
            } else if (rc != last_rc) {
                // Only once per new error, not on every retry.
                last_rc = rc;
                log_warn("log: no SD card, error", rc, "retrying");
            }
        }
        if (first) {
            k_sem_give(&viikate_log_sd_tried);
        }
        k_sleep(MOUNT_RETRY);
    }
}

static void
store_line(viikate_log_level_t level, const char *text, size_t len) {
    write_target(&sd_log, text, len);
    if (level == VIIKATE_LOG_CRIT) {
        write_target(&crit_log, text, len);
    }
}

static void sync_storage(void) {
    sync_target(&sd_log);
    sync_target(&crit_log);
}

// Waits a little for the card, so the boot lines reach it too.
static void wait_for_storage(void) {
    (void)k_sem_take(&viikate_log_sd_tried, MOUNT_RETRY);
}

#else

static void
store_line(viikate_log_level_t level, const char *text, size_t len) {
    ARG_UNUSED(level);
    ARG_UNUSED(text);
    ARG_UNUSED(len);
}

static void sync_storage(void) {}

static void wait_for_storage(void) {}

#endif

// text is one line including its newline.
static void
output_line(viikate_log_level_t level, const char *text, size_t len) {
    printk("%.*s", (int)len, text);
    store_line(level, text, len);
}

// In the buffer each line is preceded by one byte holding its level, which
// decides where it is written and is never printed.
static void output(const char *chunk, size_t len) {
    while (len > 0) {
        const char *end = memchr(chunk, NEWLINE, len);
        size_t line_len = (size_t)(end - chunk) + 1;
        output_line((viikate_log_level_t)chunk[0], chunk + 1, line_len - 1);
        chunk += line_len;
        len -= line_len;
    }
}

// Moves whole lines out of the buffer into out.
// Returns the number of bytes taken, 0 when the buffer is empty.
static uint32_t take_lines(char out[FLUSH_CHUNK]) {
    k_spinlock_key_t key = k_spin_lock(&lock);
    uint32_t n =
        ring_buf_peek(&viikate_log_buffer, (uint8_t *)out, FLUSH_CHUNK);
    while (n > 0 && out[n - 1] != NEWLINE) {
        --n;
    }
    ring_buf_get(&viikate_log_buffer, NULL, n);
    k_spin_unlock(&lock, key);
    return n;
}

static uint32_t take_dropped(void) {
    k_spinlock_key_t key = k_spin_lock(&lock);
    uint32_t n = dropped;
    dropped = 0;
    k_spin_unlock(&lock, key);
    return n;
}

// Set by viikate_log_fatal: store everything queued, then stop the board.
static atomic_t is_logging_irrecoverable_failures = ATOMIC_INIT(0);

static char flush_chunk[FLUSH_CHUNK];

// Prints and stores every queued line, then commits the files.
static void flush_all(void) {
    uint32_t n;
    while ((n = take_lines(flush_chunk)) > 0) {
        output(flush_chunk, n);
    }

    uint32_t lost = take_dropped();
    if (lost > 0) {
        int len = snprintk(
            flush_chunk,
            sizeof(flush_chunk),
            "log: dropped %u lines\n",
            lost
        );
        output_line(VIIKATE_LOG_WARN, flush_chunk, (size_t)len);
    }

    sync_storage();
}

// Builds with CONFIG_ASSERT (the simulator) halt,
// so a run stops where the failure happened. Flight builds reset and go on.
static FUNC_NORETURN void stop_board(void) {
    // Gives the USB console a moment to send the last lines.
    k_sleep(K_MSEC(100));
#ifdef CONFIG_ASSERT
    k_panic();
#else
    sys_reboot(SYS_REBOOT_COLD);
#endif
    CODE_UNREACHABLE;
}

static void flush_thread(void *arg1, void *arg2, void *arg3) {
    ARG_UNUSED(arg1);
    ARG_UNUSED(arg2);
    ARG_UNUSED(arg3);

    wait_for_storage();

    for (;;) {
        k_sem_take(&viikate_log_pending, K_FOREVER);
        flush_all();
        if (atomic_get(&is_logging_irrecoverable_failures)) {
            // Again, for lines queued while the files were being synced.
            flush_all();
            stop_board();
        }
    }
}

void viikate_log_fatal(void) {
    atomic_set(&is_logging_irrecoverable_failures, 1);

    if (k_current_get() == viikate_log_thread) {
        // Failed inside the logger thread, which nobody else will flush.
        flush_all();
        stop_board();
    }

    // Ahead of every other thread, so the logs are stored before anything
    // else runs. From an ISR, that happens as soon as the ISR returns.
    k_thread_priority_set(viikate_log_thread, K_HIGHEST_THREAD_PRIO);
    k_sem_give(&viikate_log_pending);

    if (!k_is_in_isr()) {
        // The failed thread must not carry on.
        for (;;) {
            k_sleep(K_FOREVER);
        }
    }
}

// Queues one line, all or nothing, so the console and the files never get
// half a line. Returns false if the buffer was full and the line dropped.
static bool queue_line(viikate_log_level_t level, const line_t *line) {
    const uint8_t tag = (uint8_t)level;
    bool queued = false;

    k_spinlock_key_t key = k_spin_lock(&lock);
    if (ring_buf_space_get(&viikate_log_buffer) >= 1 + line->len + 1) {
        ring_buf_put(&viikate_log_buffer, &tag, 1);
        ring_buf_put(
            &viikate_log_buffer,
            (const uint8_t *)line->text,
            line->len
        );
        ring_buf_put(&viikate_log_buffer, (const uint8_t *)&NEWLINE, 1);
        queued = true;
    } else {
        ++dropped;
    }
    k_spin_unlock(&lock, key);
    return queued;
}

bool viikate_log_write(
    viikate_log_level_t level,
    const viikate_log_arg_t *args,
    size_t count
) {
    // Formatted on the caller's stack, so a line is complete before it is
    // queued.
    const long long uptime = (long long)k_uptime_get();
    line_t line = {.len = 0};
    append(&line, "%lld %s", uptime, level_name(level));
    size_t empty = line.len;
    bool queued = true;
    bool too_long = false;

    for (size_t i = 0; i < count; ++i) {
        const size_t mark = line.len;
        if (append_arg(&line, &args[i])) {
            continue;
        }
        too_long = true;
        if (mark == empty) {
            // Longer than a whole line on its own: it stays cut.
            continue;
        }
        // End the line before this argument and go on in a new one.
        line.len = mark;
        queued = queue_line(level, &line) && queued;
        line.len = 0;
        append(&line, "%lld %s ...", uptime, level_name(level));
        empty = line.len;
        (void)append_arg(&line, &args[i]);
    }
    queued = queue_line(level, &line) && queued;

    // Never blocks, and is safe from ISRs.
    k_sem_give(&viikate_log_pending);

    if (IS_ENABLED(CONFIG_ASSERT) && too_long) {
        // The simulator and the tests stop here, so overlong log calls get
        // split by hand before they fly; flight builds keep the split lines.
        log_crit(
            "log: line longer than",
            LINE_CAPACITY,
            "characters, split the log call"
        );
        viikate_log_fatal();
    }
    return queued;
}
```

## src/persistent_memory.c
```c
#include "persistent_memory.h"

#include <string.h>
#include <zephyr/drivers/flash.h>
#include <zephyr/kernel.h>
#include <zephyr/kvss/nvs.h>
#include <zephyr/storage/flash_map.h>

#define PERSIST_MAX_LEN 32  // Largest single data to be saved in bits
#define PERSIST_QUEUE_DEPTH 8  // How many messages can wait in the queue
#define TASK_PERSIST_STACK_SIZE 2048
#define TASK_PERSIST_PRIORITY \
    K_LOWEST_APPLICATION_THREAD_PRIO  // Writing is of lowest priority due to possibility of long execution period (RMS).

typedef struct {
    uint16_t id;
    uint8_t len;
    uint8_t data[PERSIST_MAX_LEN];
} write_item_t;

static struct nvs_fs fs;
static bool ready = false;

K_MSGQ_DEFINE(write_q, sizeof(write_item_t), PERSIST_QUEUE_DEPTH, 4);

static void task_persist(void *arg1, void *arg2, void *arg3) {
    (void)arg1;
    (void)arg2;
    (void)arg3;

    write_item_t item;
    while (1) {
        k_msgq_get(&write_q, &item, K_FOREVER);
        nvs_write(&fs, item.id, item.data, item.len);
    }
}

K_THREAD_DEFINE(
    task_persist_thread_id,
    TASK_PERSIST_STACK_SIZE,
    task_persist,
    NULL,
    NULL,
    NULL,
    TASK_PERSIST_PRIORITY,
    0,
    0
);

bool persist_init(void) {
    if (ready) {
        return true;
    }

    struct flash_pages_info info;

    fs.flash_device = PARTITION_DEVICE(storage_partition);
    if (!device_is_ready(fs.flash_device)) {
        return false;
    }
    fs.offset = PARTITION_OFFSET(storage_partition);
    if (flash_get_page_info_by_offs(fs.flash_device, fs.offset, &info) != 0) {
        return false;
    }
    fs.sector_size = info.size;
    fs.sector_count = PARTITION_SIZE(storage_partition) / info.size;
    if (fs.sector_count < 2) {
        return false;
    }

    if (nvs_mount(&fs) != 0) {
        return false;
    }

    ready = true;
    return true;
}

// Non blocking
bool persist_write(uint16_t id, const void *data, size_t len) {
    if (!ready || len > PERSIST_MAX_LEN) {
        return false;
    }
    write_item_t item = {.id = id, .len = len};
    memcpy(
        item.data,
        data,
        len
    );  // Copy data so that it exists at execution time
    return k_msgq_put(&write_q, &item, K_NO_WAIT) == 0;
}

// Synchronic. Only to be used during boot.
bool persist_read(uint16_t id, void *data, size_t len) {
    return ready
        && nvs_read(&fs, id, data, len)
        == (ssize_t)len;  // nvs_read must read the correct amount of data
}
```

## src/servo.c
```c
#include "servo.h"

#include <math.h>

#include "zephyr/drivers/pwm.h"

int servo_set_angle(const servo_t servo, float angle) {
    float clamped = fminf(fmaxf(angle, -90.0f), 90.0f);
    float percent = (clamped + 90.0f) / 180.f;
    float range = (float)(servo.max_pulse - servo.min_pulse);
    uint32_t pulse = (uint32_t)(range * percent) + servo.min_pulse;

    int ret = pwm_set_pulse_dt(&servo.spec, pulse);
    return ret;
}
```
